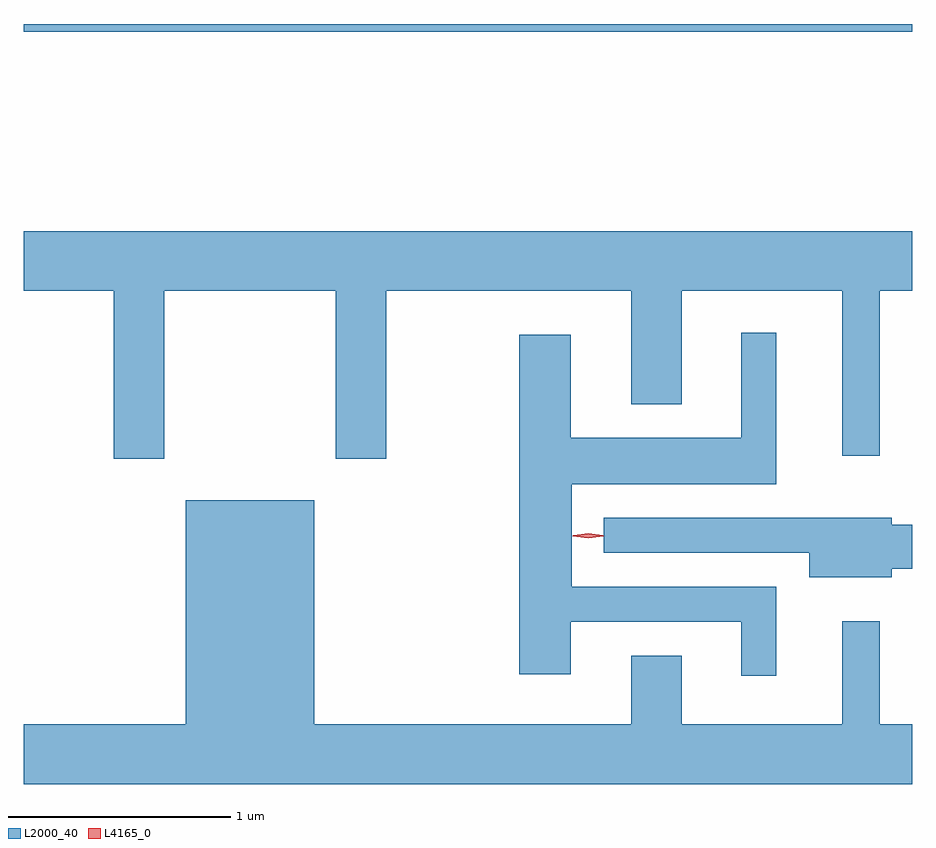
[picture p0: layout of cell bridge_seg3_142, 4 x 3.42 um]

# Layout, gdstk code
import gdstk
lib = gdstk.Library(unit=1e-6, precision=1e-09)
def R(c, l, rs):  # rectangles x0, y0, x1, y1
    for r in rs: c.add(gdstk.rectangle(r[:2], r[2:], *l))
def P(c, l, *ps):  # polygons
    for p in ps: c.add(gdstk.Polygon(p, *l))
L2000_40 = (2000, 40)
L4165_0 = (4165, 0)

bridge_seg3_142 = lib.new_cell('bridge_seg3_142')
R(bridge_seg3_142, L2000_40, [(767.326,1249.281,771.326,1249.317)])
P(bridge_seg3_142, L2000_40, [(767.959,1248.116),(768.731,1248.116),(768.731,1247.361),(768.959,1247.361),(768.959,1248.116),(770.061,1248.116),(770.061,1247.606),(770.289,1247.606),(770.289,1248.116),(771.011,1248.116),(771.011,1247.373),(771.179,1247.373),(771.179,1248.116),(771.326,1248.116),(771.326,1248.384),(767.326,1248.384),(767.326,1248.116),(767.731,1248.116),(767.731,1247.361),(767.959,1247.361)],
  [(770.714,1246.784),(769.794,1246.784),(769.794,1247.246),(770.714,1247.246),(770.714,1247.928),(770.556,1247.928),(770.556,1247.454),(769.789,1247.454),(769.789,1247.919),(769.556,1247.919),(769.556,1246.391),(769.789,1246.391),(769.789,1246.626),(770.556,1246.626),(770.556,1246.383),(770.714,1246.383)],
  [(771.326,1246.164),(771.179,1246.164),(771.179,1246.628),(771.011,1246.628),(771.011,1246.164),(770.289,1246.164),(770.289,1246.474),(770.061,1246.474),(770.061,1246.164),(768.634,1246.164),(768.634,1247.174),(768.056,1247.174),(768.056,1246.164),(767.326,1246.164),(767.326,1245.896),(771.326,1245.896)],
  [(771.234,1246.866),(771.326,1246.866),(771.326,1247.064),(771.234,1247.064),(771.234,1247.094),(769.938,1247.094),(769.938,1246.936),(770.861,1246.936),(770.861,1246.826),(771.234,1246.826)])
P(bridge_seg3_142, L4165_0, [(769.867,1247.003),(769.798,1247.012),(769.797,1247.013),(769.798,1247.013),(769.867,1247.023),(769.936,1247.013),(769.936,1247.013),(769.936,1247.012)],
  [(769.867,1247.005),(769.801,1247.014),(769.8,1247.015),(769.801,1247.015),(769.867,1247.025),(769.932,1247.015),(769.933,1247.015),(769.932,1247.014)])

lib.write_gds('bridge_seg3_142.gds')
